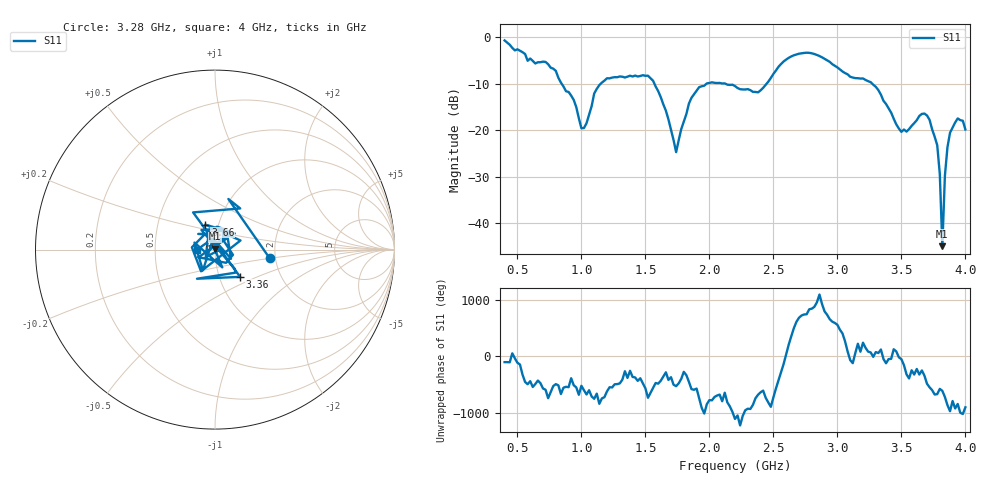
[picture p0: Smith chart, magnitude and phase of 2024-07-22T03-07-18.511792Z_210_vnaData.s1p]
!Created with skrf (http://scikit-rf.org).
# Hz S RI R 50.0
!freq ReS11 ImS11
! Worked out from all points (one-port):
!   181 points, 400 MHz to 4 GHz, reference 50 ohm
!   lowest |S11| = -44.9 dB at 3.82 GHz (marker M1), VSWR 1.01, Z = 49.8 + j0.529 ohm
!   |S11| at or under -10 dB: 1.57 GHz to 1.979 GHz (409 MHz wide, 23.1 % of centre); 2.123 GHz to 2.448 GHz (325.4 MHz wide, 14.2 % of centre); 3.271 GHz to end of sweep (the widest 3 of 4)
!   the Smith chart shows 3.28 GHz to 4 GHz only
!   S11 on the Smith chart (normalised r, x): 3.28 GHz: 1.86, -0.19; 3.36 GHz: 1.26, -0.40; 3.66 GHz: 0.86, +0.25; 4 GHz: 0.82, -0.00
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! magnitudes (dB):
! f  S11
! 400 MHz  -0.8
! 720 MHz  -5.4
! 860 MHz  -10.6
! 1.02 GHz  -19.5
! 1.14 GHz  -10.3
! 1.3 GHz  -8.5
! 1.56 GHz  -9.4
! 1.74 GHz  -24.7
! 1.76 GHz  -22.2
! 1.84 GHz  -14.3
! 1.92 GHz  -10.8
! 2.2 GHz  -10.5
! 2.38 GHz  -11.9
! 2.66 GHz  -3.9
! 3.1 GHz  -8.5
! 3.28 GHz  -10.2
! 3.36 GHz  -13.7
! 3.5 GHz  -20.4
! 3.56 GHz  -19.8
! 3.66 GHz  -16.5
! 3.72 GHz  -17.8
! 3.78 GHz  -23.2
! 3.8 GHz  -29.4
! 3.82 GHz  -44.9
! 3.84 GHz  -29.7
! 3.88 GHz  -20.5
! 3.94 GHz  -17.5
! 4 GHz  -19.9
